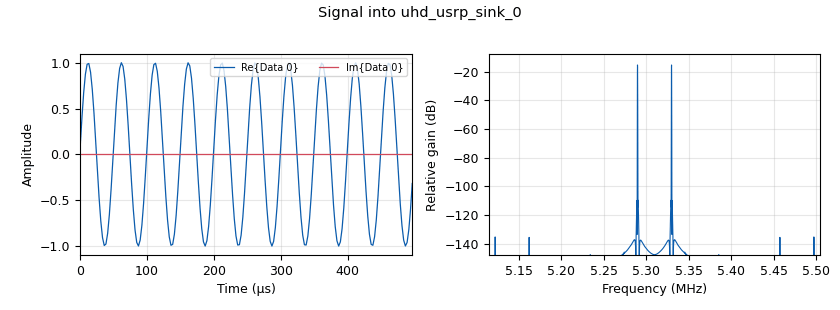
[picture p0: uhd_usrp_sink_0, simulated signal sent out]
<?xml version='1.0' encoding='utf-8'?>
<?grc format='1' created='3.7.8'?>
<flow_graph>
<block>
<key>options</key>
<param><key>id</key><value>top_block</value></param>
<param><key>category</key><value>Custom</value></param>
<param><key>generate_options</key><value>wx_gui</value></param>
</block>
<block>
<key>variable</key>
<param><key>id</key><value>samp_rate</value></param>
<param><key>value</key><value>100e6/256</value></param>
</block>
<block>
<key>parameter</key>
<param><key>id</key><value>address</value></param>
<param><key>label</key><value>IP Address</value></param>
<param><key>short_id</key><value>a</value></param>
<param><key>type</key><value>string</value></param>
<param><key>value</key><value>addr=192.168.10.2</value></param>
</block>
<block>
<key>analog_const_source_x</key>
<param><key>id</key><value>analog_const_source_x_0_0</value></param>
<param><key>const</key><value>1</value></param>
<param><key>_enabled</key><value>False</value></param>
<param><key>type</key><value>float</value></param>
</block>
<block>
<key>analog_const_source_x</key>
<param><key>id</key><value>analog_const_source_x_0_0_0</value></param>
<param><key>const</key><value>0</value></param>
<param><key>type</key><value>float</value></param>
</block>
<block>
<key>analog_sig_source_x</key>
<param><key>id</key><value>analog_sig_source_x_0_0</value></param>
<param><key>amp</key><value>1</value></param>
<param><key>freq</key><value>20000</value></param>
<param><key>offset</key><value>0</value></param>
<param><key>type</key><value>float</value></param>
<param><key>samp_rate</key><value>samp_rate</value></param>
<param><key>waveform</key><value>analog.GR_SIN_WAVE</value></param>
</block>
<block>
<key>blocks_complex_to_float</key>
<param><key>id</key><value>blocks_complex_to_float_0</value></param>
</block>
<block>
<key>blocks_float_to_complex</key>
<param><key>id</key><value>blocks_float_to_complex_0</value></param>
</block>
<block>
<key>parameter</key>
<param><key>id</key><value>freq</value></param>
<param><key>label</key><value>Default Frequency</value></param>
<param><key>short_id</key><value>f</value></param>
<param><key>type</key><value>eng_float</value></param>
<param><key>value</key><value>5.31e6</value></param>
</block>
<block>
<key>parameter</key>
<param><key>id</key><value>freq_offset</value></param>
<param><key>label</key><value>Rx Frequency Offset</value></param>
<param><key>short_id</key><value>o</value></param>
<param><key>type</key><value>eng_float</value></param>
<param><key>value</key><value>4492.1875</value></param>
</block>
<block>
<key>parameter</key>
<param><key>id</key><value>gain</value></param>
<param><key>label</key><value>Default Gain</value></param>
<param><key>short_id</key><value>g</value></param>
<param><key>type</key><value>eng_float</value></param>
<param><key>value</key><value>30</value></param>
</block>
<block>
<key>parameter</key>
<param><key>id</key><value>samp_rate_0</value></param>
<param><key>label</key><value>Sample Rate</value></param>
<param><key>short_id</key><value>s</value></param>
<param><key>type</key><value>eng_float</value></param>
<param><key>value</key><value>1e6</value></param>
</block>
<block>
<key>uhd_usrp_sink</key>
<param><key>id</key><value>uhd_usrp_sink_0</value></param>
<param><key>ant0</key><value>TX/RX</value></param>
<param><key>center_freq0</key><value>freq</value></param>
<param><key>norm_gain0</key><value>False</value></param>
<param><key>gain0</key><value>gain</value></param>
<param><key>clock_rate</key><value>0.0</value></param>
<param><key>dev_addr</key><value></value></param>
<param><key>dev_args</key><value>""</value></param>
<param><key>type</key><value>fc32</value></param>
<param><key>len_tag_name</key><value></value></param>
<param><key>samp_rate</key><value>samp_rate</value></param>
<param><key>sync</key><value></value></param>
</block>
<block>
<key>uhd_usrp_source</key>
<param><key>id</key><value>uhd_usrp_source_0</value></param>
<param><key>ant0</key><value>RX2</value></param>
<param><key>center_freq0</key><value>freq+freq_offset</value></param>
<param><key>norm_gain0</key><value>False</value></param>
<param><key>gain0</key><value>gain</value></param>
<param><key>clock_rate</key><value>0.0</value></param>
<param><key>dev_addr</key><value></value></param>
<param><key>dev_args</key><value>""</value></param>
<param><key>type</key><value>fc32</value></param>
<param><key>samp_rate</key><value>samp_rate</value></param>
<param><key>sync</key><value></value></param>
</block>
<block>
<key>wxgui_scopesink2</key>
<param><key>id</key><value>wxgui_scopesink2_0_0</value></param>
<param><key>ac_couple</key><value>False</value></param>
<param><key>num_inputs</key><value>1</value></param>
<param><key>samp_rate</key><value>samp_rate</value></param>
<param><key>t_scale</key><value>0</value></param>
<param><key>title</key><value>Scope Plot (Real)</value></param>
<param><key>trig_mode</key><value>wxgui.TRIG_MODE_NORM</value></param>
<param><key>type</key><value>float</value></param>
<param><key>v_offset</key><value>0</value></param>
<param><key>v_scale</key><value>0</value></param>
<param><key>xy_mode</key><value>False</value></param>
<param><key>y_axis_label</key><value>Counts</value></param>
</block>
<block>
<key>wxgui_scopesink2</key>
<param><key>id</key><value>wxgui_scopesink2_0_1</value></param>
<param><key>ac_couple</key><value>False</value></param>
<param><key>num_inputs</key><value>1</value></param>
<param><key>samp_rate</key><value>samp_rate</value></param>
<param><key>t_scale</key><value>0</value></param>
<param><key>title</key><value>Scope Plot (Imag)</value></param>
<param><key>trig_mode</key><value>wxgui.TRIG_MODE_AUTO</value></param>
<param><key>type</key><value>float</value></param>
<param><key>v_offset</key><value>0</value></param>
<param><key>v_scale</key><value>0</value></param>
<param><key>xy_mode</key><value>False</value></param>
<param><key>y_axis_label</key><value>Counts</value></param>
</block>
<connection><source_block_id>analog_const_source_x_0_0</source_block_id><sink_block_id>blocks_float_to_complex_0</sink_block_id><source_key>0</source_key><sink_key>0</sink_key></connection>
<connection><source_block_id>analog_const_source_x_0_0_0</source_block_id><sink_block_id>blocks_float_to_complex_0</sink_block_id><source_key>0</source_key><sink_key>1</sink_key></connection>
<connection><source_block_id>analog_sig_source_x_0_0</source_block_id><sink_block_id>blocks_float_to_complex_0</sink_block_id><source_key>0</source_key><sink_key>0</sink_key></connection>
<connection><source_block_id>blocks_complex_to_float_0</source_block_id><sink_block_id>wxgui_scopesink2_0_1</sink_block_id><source_key>1</source_key><sink_key>0</sink_key></connection>
<connection><source_block_id>blocks_complex_to_float_0</source_block_id><sink_block_id>wxgui_scopesink2_0_0</sink_block_id><source_key>0</source_key><sink_key>0</sink_key></connection>
<connection><source_block_id>blocks_float_to_complex_0</source_block_id><sink_block_id>uhd_usrp_sink_0</sink_block_id><source_key>0</source_key><sink_key>0</sink_key></connection>
<connection><source_block_id>uhd_usrp_source_0</source_block_id><sink_block_id>blocks_complex_to_float_0</sink_block_id><source_key>0</source_key><sink_key>0</sink_key></connection>
</flow_graph>
